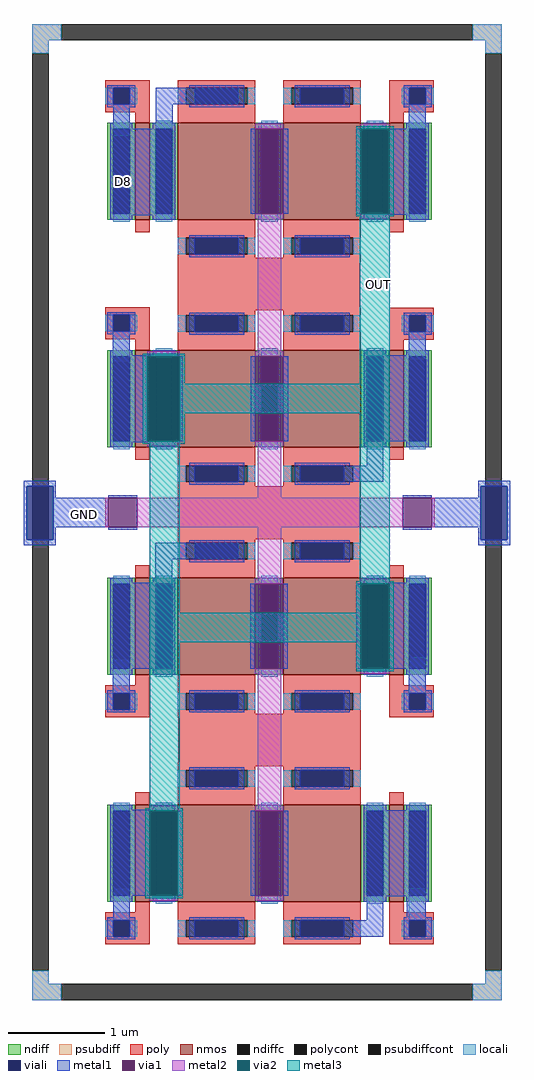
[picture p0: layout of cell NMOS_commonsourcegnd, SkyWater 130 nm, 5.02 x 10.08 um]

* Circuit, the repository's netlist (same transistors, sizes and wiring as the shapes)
** sch_path: /root/latihan/opamp/mag_file/NMOS_commonsourcegnd/NMOS_commonsourcegnd.sch
.subckt NMOS_commonsourcegnd OUT D8 GND
*.PININFO GND:B OUT:B D8:B
XM9 OUT D8 GND GND sky130_fd_pr__nfet_01v8 L=0.8 W=1 nf=1 m=4
XM8 D8 D8 GND GND sky130_fd_pr__nfet_01v8 L=0.8 W=1 nf=1 m=4
XM1 OUT OUT OUT GND sky130_fd_pr__nfet_01v8 L=0.15 W=1 nf=1 m=4
XM2 D8 D8 D8 GND sky130_fd_pr__nfet_01v8 L=0.15 W=1 nf=1 m=4
.ends
.end

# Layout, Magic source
magic
tech sky130A
magscale 1 2
<< psubdiff >>
rect -241 1869 -181 1903
rect 669 1869 729 1903
rect -241 1843 -207 1869
rect 695 1843 729 1869
rect -241 -79 -207 -53
rect 695 -79 729 -53
rect -241 -113 -181 -79
rect 669 -113 729 -79
<< psubdiffcont >>
rect -181 1869 669 1903
rect -241 -53 -207 1843
rect 695 -53 729 1843
rect -181 -113 669 -79
<< poly >>
rect -90 1771 2 1787
rect -90 1737 -74 1771
rect -40 1737 2 1771
rect -90 1721 2 1737
rect -28 1703 2 1721
rect 496 1771 588 1787
rect 496 1737 538 1771
rect 572 1737 588 1771
rect 496 1721 588 1737
rect 496 1703 526 1721
rect 60 1420 220 1421
rect -90 1302 2 1318
rect 60 1312 437 1420
rect -90 1268 -74 1302
rect -40 1268 2 1302
rect -90 1252 2 1268
rect -28 1234 2 1252
rect 496 1301 588 1317
rect 496 1267 538 1301
rect 572 1267 588 1301
rect 496 1251 588 1267
rect 496 1231 526 1251
rect 60 839 438 948
rect -28 537 2 555
rect -90 521 2 537
rect -90 487 -74 521
rect -40 487 2 521
rect -90 471 2 487
rect 496 537 526 555
rect 496 521 588 537
rect 496 487 538 521
rect 572 487 588 521
rect 61 370 438 478
rect 496 471 588 487
rect 278 369 438 370
rect -28 68 2 86
rect -90 52 2 68
rect -90 18 -74 52
rect -40 18 2 52
rect -90 2 2 18
rect 496 68 526 86
rect 496 52 588 68
rect 496 18 538 52
rect 572 18 588 52
rect 496 2 588 18
<< polycont >>
rect -74 1737 -40 1771
rect 538 1737 572 1771
rect -74 1268 -40 1302
rect 538 1267 572 1301
rect -74 487 -40 521
rect 538 487 572 521
rect -74 18 -40 52
rect 538 18 572 52
<< locali >>
rect -241 1869 -181 1903
rect 669 1869 729 1903
rect -241 1843 -207 1869
rect 695 1843 729 1869
rect -90 1737 -74 1771
rect -40 1737 -24 1771
rect 522 1737 538 1771
rect 572 1737 588 1771
rect -74 1703 -39 1737
rect -74 1672 -40 1703
rect 537 1686 572 1737
rect -75 1302 -40 1303
rect -90 1268 -74 1302
rect -40 1268 -24 1302
rect -75 1234 -39 1268
rect 522 1267 538 1301
rect 572 1267 588 1301
rect -75 1206 -40 1234
rect 537 1211 572 1267
rect -75 521 -39 590
rect 538 555 572 595
rect 537 521 572 555
rect -90 487 -74 521
rect -40 487 -24 521
rect 522 487 538 521
rect 572 487 588 521
rect -74 114 -40 117
rect -74 52 -39 114
rect 537 52 572 118
rect -90 18 -74 52
rect -40 18 -24 52
rect 522 18 538 52
rect 572 18 588 52
rect -241 -79 -207 -53
rect 695 -79 729 -53
rect -241 -113 -181 -79
rect 669 -113 729 -79
<< viali >>
rect -74 1737 -40 1771
rect 538 1737 572 1771
rect -74 1268 -40 1302
rect 538 1267 572 1301
rect -252 838 -241 948
rect -241 838 -207 948
rect -207 838 -198 948
rect 686 838 695 948
rect 695 838 729 948
rect 729 838 740 948
rect -74 487 -40 521
rect 538 487 572 521
rect -74 18 -40 52
rect 538 18 572 52
<< metal1 >>
rect -86 1771 -28 1777
rect 526 1771 584 1777
rect -86 1737 -74 1771
rect -40 1737 -28 1771
rect -86 1731 -28 1737
rect 14 1737 185 1771
rect 526 1737 538 1771
rect 572 1737 584 1771
rect -74 1687 -39 1731
rect 14 1687 49 1737
rect 526 1731 584 1737
rect 537 1687 572 1731
rect -74 1685 49 1687
rect -74 1509 48 1685
rect 210 1511 220 1687
rect 278 1511 288 1687
rect 428 1511 438 1687
rect 496 1686 572 1687
rect 496 1511 571 1686
rect 451 1509 571 1511
rect -74 1508 42 1509
rect -86 1302 -28 1308
rect -86 1268 -74 1302
rect -40 1268 -28 1302
rect -86 1262 -28 1268
rect 526 1301 584 1307
rect 526 1267 538 1301
rect 572 1267 584 1301
rect -75 1219 -39 1262
rect 526 1261 584 1267
rect 537 1219 572 1261
rect -75 1217 63 1219
rect -75 1041 2 1217
rect 60 1041 70 1217
rect 210 1041 220 1217
rect 278 1041 288 1217
rect 450 1211 572 1219
rect 450 1041 570 1211
rect -75 1039 63 1041
rect 450 991 484 1041
rect -258 948 -192 960
rect 411 957 484 991
rect -258 838 -252 948
rect -198 924 -192 948
rect 680 948 746 960
rect -84 924 -24 930
rect -198 864 -84 924
rect -198 838 -192 864
rect -84 858 -24 864
rect 524 924 584 930
rect 680 924 686 948
rect 584 864 686 924
rect 524 858 584 864
rect -258 826 -192 838
rect 680 838 686 864
rect 740 838 746 948
rect 14 830 184 831
rect 13 797 184 830
rect 680 826 746 838
rect 13 749 48 797
rect -74 738 48 749
rect 450 747 570 749
rect -74 590 46 738
rect -75 571 46 590
rect 209 571 219 747
rect 277 571 287 747
rect 428 571 438 747
rect 496 595 570 747
rect 496 571 572 595
rect -75 527 -39 571
rect 537 527 572 571
rect -86 521 -28 527
rect -86 487 -74 521
rect -40 487 -28 521
rect -86 481 -28 487
rect 526 521 584 527
rect 526 487 538 521
rect 572 487 584 521
rect 526 481 584 487
rect -74 278 46 280
rect -74 102 2 278
rect 60 102 70 278
rect 210 102 220 278
rect 278 102 288 278
rect 450 118 570 279
rect -74 58 -39 102
rect 450 101 572 118
rect -86 52 -28 58
rect 450 52 484 101
rect 533 58 572 101
rect -86 18 -74 52
rect -40 18 -28 52
rect 409 18 484 52
rect 526 52 584 58
rect 526 18 538 52
rect 572 18 584 52
rect -86 12 -28 18
rect 526 12 584 18
<< via1 >>
rect 220 1511 278 1687
rect 438 1511 496 1687
rect 2 1041 60 1217
rect 220 1041 278 1217
rect -84 864 -24 924
rect 524 864 584 924
rect 219 571 277 747
rect 438 571 496 747
rect 2 102 60 278
rect 220 102 278 278
<< metal2 >>
rect 220 1687 278 1697
rect 220 1501 278 1511
rect 438 1687 496 1697
rect 438 1501 496 1511
rect 225 1227 273 1501
rect -3 1217 64 1227
rect -3 1031 64 1041
rect 220 1217 278 1227
rect 220 1031 278 1041
rect 225 924 273 1031
rect -90 864 -84 924
rect -24 864 524 924
rect 584 864 590 924
rect 225 757 273 864
rect 219 747 277 757
rect 219 561 277 571
rect 438 747 496 757
rect 438 561 496 571
rect 225 288 273 561
rect 2 278 60 288
rect 2 92 60 102
rect 220 278 278 288
rect 220 92 278 102
<< via2 >>
rect 438 1511 496 1687
rect -3 1041 2 1217
rect 2 1041 60 1217
rect 60 1041 64 1217
rect 438 571 496 747
rect 2 102 60 278
<< metal3 >>
rect 428 1687 506 1692
rect 428 1511 438 1687
rect 496 1511 506 1687
rect 428 1506 506 1511
rect -13 1217 74 1222
rect -13 1041 -3 1217
rect 64 1160 74 1217
rect 436 1160 498 1506
rect 64 1099 498 1160
rect 64 1041 74 1099
rect -13 1036 74 1041
rect 2 687 64 1036
rect 436 752 498 1099
rect 428 747 506 752
rect 428 687 438 747
rect 2 626 438 687
rect 2 283 64 626
rect 428 571 438 626
rect 496 571 506 747
rect 428 566 506 571
rect -8 278 70 283
rect -8 102 2 278
rect 60 102 70 278
rect -8 97 70 102
use sky130_fd_pr__nfet_01v8_5MNGEB  sky130_fd_pr__nfet_01v8_5MNGEB_0
transform 1 0 249 0 1 1599
box -247 -188 247 188
use sky130_fd_pr__nfet_01v8_5MNGEB  sky130_fd_pr__nfet_01v8_5MNGEB_1
transform 1 0 249 0 1 190
box -247 -188 247 188
use sky130_fd_pr__nfet_01v8_5MNGEB  sky130_fd_pr__nfet_01v8_5MNGEB_2
transform 1 0 249 0 1 659
box -247 -188 247 188
use sky130_fd_pr__nfet_01v8_5MNGEB  sky130_fd_pr__nfet_01v8_5MNGEB_3
transform 1 0 249 0 1 1129
box -247 -188 247 188
use sky130_fd_pr__nfet_01v8_6H9P4D  sky130_fd_pr__nfet_01v8_6H9P4D_0
transform 1 0 -13 0 1 190
box -73 -126 73 126
use sky130_fd_pr__nfet_01v8_6H9P4D  sky130_fd_pr__nfet_01v8_6H9P4D_1
transform 1 0 511 0 1 1599
box -73 -126 73 126
use sky130_fd_pr__nfet_01v8_6H9P4D  sky130_fd_pr__nfet_01v8_6H9P4D_2
transform 1 0 511 0 1 1129
box -73 -126 73 126
use sky130_fd_pr__nfet_01v8_6H9P4D  sky130_fd_pr__nfet_01v8_6H9P4D_3
transform 1 0 511 0 1 659
box -73 -126 73 126
use sky130_fd_pr__nfet_01v8_6H9P4D  sky130_fd_pr__nfet_01v8_6H9P4D_4
transform 1 0 511 0 1 190
box -73 -126 73 126
use sky130_fd_pr__nfet_01v8_6H9P4D  sky130_fd_pr__nfet_01v8_6H9P4D_5
transform 1 0 -13 0 1 1599
box -73 -126 73 126
use sky130_fd_pr__nfet_01v8_6H9P4D  sky130_fd_pr__nfet_01v8_6H9P4D_6
transform 1 0 -13 0 1 1129
box -73 -126 73 126
use sky130_fd_pr__nfet_01v8_6H9P4D  sky130_fd_pr__nfet_01v8_6H9P4D_7
transform 1 0 -13 0 1 659
box -73 -126 73 126
<< labels >>
flabel metal1 -52 1578 -52 1578 0 FreeSans 320 0 0 0 D8
port 0 nsew
flabel metal3 474 1364 474 1364 0 FreeSans 320 0 0 0 OUT
port 1 nsew
flabel metal1 -132 890 -132 890 0 FreeSans 320 0 0 0 GND
port 2 nsew
<< end >>

# cell sky130_fd_pr__nfet_01v8_5MNGEB: kit device sky130_fd_pr__nfet_01v8, w 1 l 0.8 m 1 nf 2 diffcov 100 polycov 100 guard 0 glc 1 grc 1 gtc 1 gbc 1 tbcov 100 rlcov 100 topc 1 botc 1 poverlap 0 doverlap 1 lmin 0.15 wmin 0.42 compatible {sky130_fd_pr__nfet_01v8 sky130_fd_pr__nfet_01v8_lvt sky130_fd_bs_flash__special_sonosfet_star sky130_fd_pr__nfet_g5v0d10v5 sky130_fd_pr__nfet_05v0_nvt sky130_fd_pr__nfet_03v3_nvt} full_metal 1 viasrc 100 viadrn 100 viagate 70 viagb 0 viagr 0 viagl 0 viagt 0

# cell sky130_fd_pr__nfet_01v8_6H9P4D: kit device sky130_fd_pr__nfet_01v8, w 1 l 0.150 m 1 nf 1 diffcov 100 polycov 100 guard 0 glc 1 grc 1 gtc 1 gbc 1 tbcov 100 rlcov 100 topc 0 botc 0 poverlap 0 doverlap 1 lmin 0.15 wmin 0.42 compatible {sky130_fd_pr__nfet_01v8 sky130_fd_pr__nfet_01v8_lvt sky130_fd_bs_flash__special_sonosfet_star sky130_fd_pr__nfet_g5v0d10v5 sky130_fd_pr__nfet_05v0_nvt sky130_fd_pr__nfet_03v3_nvt} full_metal 1 viasrc 100 viadrn 100 viagate 100 viagb 0 viagr 0 viagl 0 viagt 0
